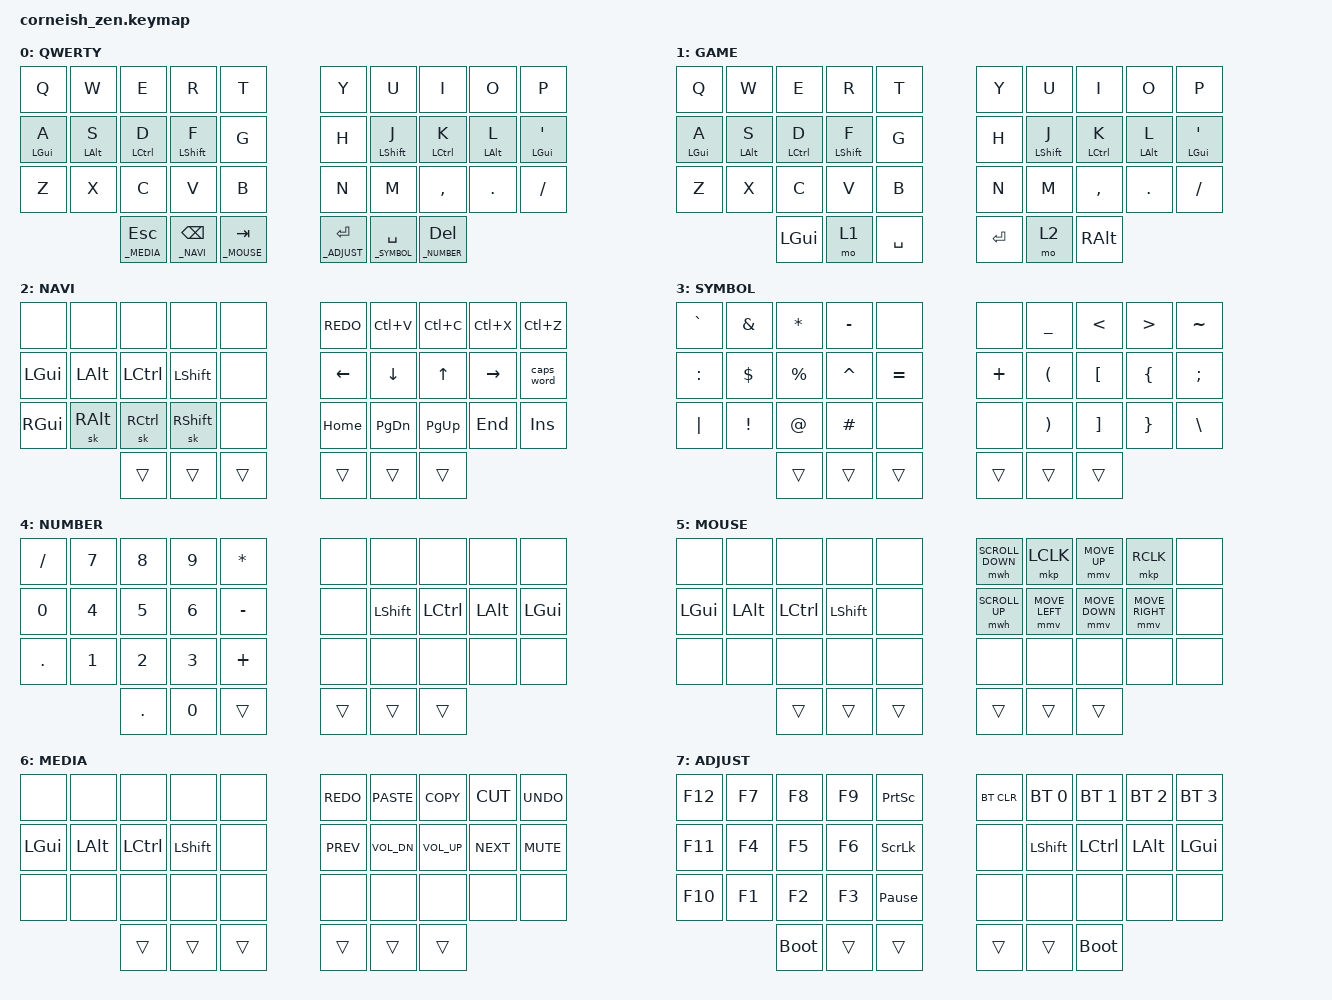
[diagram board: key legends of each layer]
#include <behaviors.dtsi>
#include <dt-bindings/zmk/keys.h>
#include <dt-bindings/zmk/bt.h>
#include <dt-bindings/zmk/outputs.h>

#define _DEFAULT 0
#define _GAME 1
#define _NAVI 2
#define _SYMBOL 3
#define _NUMBER 4
#define _MOUSE 5
#define _MEDIA 6
#define _ADJUST 7

#include <dt-bindings/zmk/mouse.h>

#define TAPPING_TERM 150
#define QUICK_TAP 200

/* Key index
 0  1  2  3  4         5  6  7  8  9
10 11 12 13 14        15 16 17 18 19
20 21 22 23 24        25 26 27 28 29
        30 31 32    33 34 35         */

/ {
    combos {
        compatible = "zmk,combos";
        // Umlauts; requires EUR keymap
        combo_uauml {
            timeout-ms = <50>;
            key-positions = <0 1>;
            bindings = <&kp RA(LS(A))>;
        };
        combo_uouml {
            timeout-ms = <50>;
            key-positions = <0 2>;
            bindings = <&kp RA(LS(O))>;
        };
        combo_uuuml {
            timeout-ms = <50>;
            key-positions = <0 3>;
            bindings = <&kp RA(LS(U))>;
        };
        combo_lauml {
            timeout-ms = <50>;
            key-positions = <20 21>;
            bindings = <&kp RA(A)>;
        };
        combo_louml {
            timeout-ms = <50>;
            key-positions = <20 22>;
            bindings = <&kp RA(O)>;
        };
        combo_luuml {
            timeout-ms = <50>;
            key-positions = <20 23>;
            bindings = <&kp RA(U)>;
        };
        combo_lsuml {
            timeout-ms = <50>;
            key-positions = <20 24>;
            bindings = <&kp RA(S)>;
        };
    };
};

&lt {
    tapping-term-ms = <TAPPING_TERM>;
    quick-tap-ms = <QUICK_TAP>;
};

/ {
    behaviors {
        hm: homerow_mods {
            compatible = "zmk,behavior-hold-tap";
            label = "HOMEROW_MODS";
            #binding-cells = <2>;
            tapping-term-ms = <TAPPING_TERM>;
            quick-tap-ms = <QUICK_TAP>;
            flavor = "tap-preferred";
            bindings = <&kp>, <&kp>;
        };
    };
};

/ {
  chosen {
    zmk,matrix_transform = &five_column_transform;
  };
};

/ {
        keymap {
                compatible = "zmk,keymap";

                default_layer {
                        label = "QWERTY";
                        bindings = <
   &kp Q      &kp W      &kp E       &kp R       &kp T   &kp Y &kp U        &kp I        &kp O      &kp P
   &hm LGUI A &hm LALT S &hm LCTRL D &hm LSHFT F &kp G   &kp H &hm LSHFT J  &hm LCTRL K  &hm LALT L &hm LGUI SQT
   &kp Z      &kp X      &kp C       &kp V       &kp B   &kp N &kp M        &kp COMMA    &kp DOT    &kp FSLH
              &lt _MEDIA ESC  &lt _NAVI BSPC  &lt _MOUSE TAB  &lt _ADJUST RET  &lt _SYMBOL SPC  &lt _NUMBER DEL
                        >;
                };

                game_layer {
                        label = "GAME";
                        bindings = <
   &kp Q      &kp W      &kp E       &kp R       &kp T   &kp Y &kp U        &kp I        &kp O      &kp P
   &mt LGUI A &mt LALT S &mt LCTRL D &mt LSHFT F &kp G   &kp H &mt LSHFT J  &mt LCTRL K  &mt LALT L &mt LGUI SQT
   &kp Z      &kp X      &kp C       &kp V       &kp B   &kp N &kp M        &kp COMMA    &kp DOT    &kp FSLH
              &kp LGUI   &mo 1       &kp SPACE           &kp RET            &mo 2        &kp RALT
                        >;
                };

                navi_layer {
                        label = "NAVI";
                        bindings = <
   &none      &none      &none       &none       &none  &kp K_REDO  &kp LC(V)    &kp LC(C)   &kp LC(X)  &kp LC(Z)
   &kp LGUI   &kp LALT   &kp LCTRL   &kp LSHFT   &none  &kp LEFT    &kp DOWN     &kp UP      &kp RIGHT  &caps_word
   &kp RGUI   &sk RALT   &sk RCTRL   &sk RSHFT   &none  &kp HOME    &kp PG_DN    &kp PG_UP   &kp END    &kp INS
              &trans     &trans      &trans                         &trans       &trans      &trans
                        >;
                };

                symbol_layer {
                        label = "SYMBOL";
                        bindings = <
   &kp GRAVE  &kp AMPS  &kp STAR   &kp MINUS   &none      &none     &kp UNDER &kp LT    &kp GT    &kp TILDE
   &kp COLON  &kp DLLR  &kp PRCNT  &kp CARET   &kp EQUAL  &kp PLUS  &kp LPAR  &kp LBKT  &kp LBRC  &kp SEMI
   &kp PIPE   &kp EXCL  &kp AT     &kp HASH    &none      &none     &kp RPAR  &kp RBKT  &kp RBRC  &kp BSLH
              &trans    &trans     &trans                           &trans    &trans    &trans
                        >;
                };

                number_layer {
                        label = "NUMBER";
                        bindings = <
   &kp FSLH   &kp N7    &kp N8    &kp N9       &kp STAR   &none     &none     &none     &none     &none
   &kp N0     &kp N4    &kp N5    &kp N6       &kp MINUS  &none     &kp LSHFT &kp LCTRL &kp LALT  &kp LGUI
   &kp DOT    &kp N1    &kp N2    &kp N3       &kp PLUS   &none     &none     &none     &none     &none
              &kp DOT   &kp N0    &trans                            &trans    &trans    &trans
                        >;
                };

                mouse_layer {
                        label = "MOUSE";
                        bindings = <
   &none      &none      &none       &none       &none      &mwh SCROLL_DOWN &mkp LCLK &mmv MOVE_UP &mkp RCLK      &none
   &kp LGUI   &kp LALT   &kp LCTRL   &kp LSHFT   &none      &mwh SCROLL_UP &mmv MOVE_LEFT &mmv MOVE_DOWN &mmv MOVE_RIGHT      &none
   &none      &none      &none       &none       &none      &none  &none        &none        &none      &none
              &trans     &trans      &trans                        &trans       &trans       &trans
                        >;
                };

                media_layer {
                        label = "MEDIA";
                        bindings = <
   &none      &none      &none       &none       &none      &kp K_REDO  &kp K_PASTE   &kp K_COPY    &kp K_CUT   &kp K_UNDO
   &kp LGUI   &kp LALT   &kp LCTRL   &kp LSHFT   &none      &kp K_PREV  &kp K_VOL_DN  &kp K_VOL_UP  &kp K_NEXT  &kp K_MUTE
   &none      &none      &none       &none       &none      &none       &none         &none         &none       &none
              &trans     &trans      &trans                             &trans        &trans        &trans
                        >;
                };

                adjust_layer {
                        label = "ADJUST";
                        bindings = <
   &kp F12    &kp F7       &kp F8      &kp F9      &kp PSCRN        &bt BT_CLR  &bt BT_SEL 0  &bt BT_SEL 1  &bt BT_SEL 2  &bt BT_SEL 3
   &kp F11    &kp F4       &kp F5      &kp F6      &kp SLCK         &none       &kp LSHFT     &kp LCTRL     &kp LALT      &kp LGUI
   &kp F10    &kp F1       &kp F2      &kp F3      &kp PAUSE_BREAK  &none       &none         &none         &none         &none
              &bootloader  &trans      &trans                                   &trans        &trans        &bootloader
                        >;
                };

        };
};
